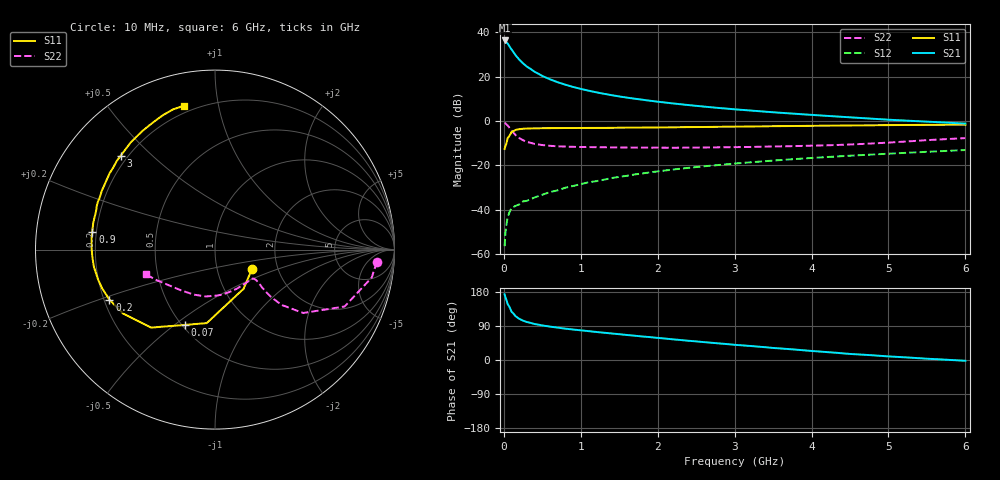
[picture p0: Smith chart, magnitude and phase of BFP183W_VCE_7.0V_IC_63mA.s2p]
! Infineon Technologies  Discrete & RF Semiconductors
! BFP183W
! VCE =  7.0 V,  IC =  63 mA
! Common Emitter S-Parameters:  Jan 2017
# GHz  S  MA  R  50
!  f  S11  S21  S12  S22
! GHz  MAG  ANG  MAG  ANG  MAG  ANG  MAG  ANG
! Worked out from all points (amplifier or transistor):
!   77 points, 10 MHz to 6 GHz, reference 50 ohm
!   highest |S21| = 36.3 dB at 10 MHz (marker M1)
!   |S21| within 3 dB of that: start of sweep to 79.43 MHz
!   unconditionally stable (mu >= 1): 491.8 MHz to 3.501 GHz
!   at 130 MHz: K = 0.47, MSG = 34.7 dB, |S12| = -38.7 dB
!   at 2.2 GHz: K = 1.11, MAG = 12.9 dB, |S12| = -21.9 dB
!   at 6 GHz: K = 0.85, MSG = 6.0 dB, |S12| = -13.1 dB
!   S11 on the Smith chart (normalised r, x): 10 MHz: 1.47, -0.34; 70 MHz: 0.51, -0.54; 200 MHz: 0.22, -0.21; 900 MHz: 0.18, +0.07; 3 GHz: 0.17, +0.40; 6 GHz: 0.16, +0.80
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0.01  0.233 -28.1  65.08 173.2  0.0015 75.0  0.904 -4.4
0.02  0.2701 -53.8  63.39 165.9  0.0029 87.0  0.8871 -10.1
0.05  0.4121 -96.4  55.44 147.6  0.0068 61.1  0.7887 -23.7
0.07  0.4527 -112.0  48.88 141.0  0.0084 58.9  0.7118 -27.8
0.1  0.5617 -129.3  40.76 127.3  0.0108 56.8  0.6051 -35.7
0.15  0.6239 -145.2  30.65 116.0  0.0121 48.7  0.483 -39.7
0.2  0.6508 -154.6  24.13 108.7  0.0131 51.1  0.4113 -40.2
0.25  0.6647 -161.0  19.81 103.7  0.0153 50.0  0.3665 -39.6
0.3  0.6723 -165.6  16.73 100.2  0.0158 51.0  0.3365 -38.8
0.4  0.6817 -172.0  12.79 94.9  0.0188 56.8  0.3029 -37.1
0.5  0.6845 -176.6  10.31 91.2  0.0217 59.2  0.2854 -36.6
0.6  0.687 -180.0  8.655 88.1  0.0249 60.4  0.2743 -36.6
0.7  0.6887 177.0  7.44 85.4  0.0272 64.7  0.2676 -37.0
0.9  0.6904 171.8  5.821 80.4  0.0341 67.3  0.2605 -39.4
1.1  0.6944 167.5  4.805 76.2  0.0413 68.3  0.257 -42.2
1.5  0.702 159.8  3.56 68.1  0.0548 69.1  0.2519 -49.7
2.1  0.7148 148.9  2.591 56.5  0.0764 67.9  0.2489 -63.6
3  0.7417 135.1  1.825 40.1  0.1091 63.3  0.2565 -88.0
3.1  0.7445 133.7  1.77 38.6  0.1127 62.7  0.2573 -90.7
4.1  0.7773 120.2  1.333 22.4  0.1496 56.0  0.279 -117.9
5.1  0.8059 110.0  1.043 8.4  0.1859 48.9  0.3324 -144.5
6  0.8202 102.1  0.869 -2.1  0.2205 42.0  0.4096 -160.3
